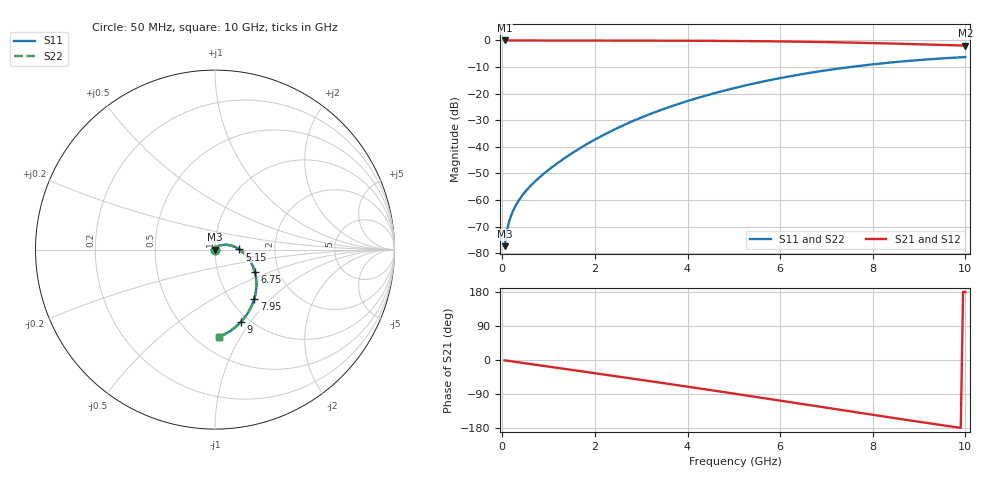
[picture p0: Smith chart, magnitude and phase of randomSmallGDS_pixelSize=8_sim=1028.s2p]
! freq	dB(S11)	phase(S11)	dB(S12)	phase(S12)
!  dB(S21)	phase(S21)	dB(S22)	phase(S22)
!S-par simulation data
#  GHz  S  DB  R 50
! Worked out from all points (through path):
!   200 points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, 50 MHz to 10 GHz, reference 50 ohm
!   highest |S21| = 0.00 dB at 50 MHz (marker M1); lowest = -1.9 dB at 10 GHz (marker M2)
!   group delay of S21, straight-line fit = 50.6 ps
!   lowest |S11| = -77.3 dB at 50 MHz (marker M3), VSWR 1.00, Z = 50 + j0.0132 ohm
!   |S11| at or under -10 dB: start of sweep to 7.508 GHz
!   |S22| runs from -77.3 to -6.2 dB; largest |S21 - S12| = 0
!   S11 on the Smith chart (normalised r, x): 50 MHz: 1.00, +0.00; 5.15 GHz: 1.32, +0.00; 6.75 GHz: 1.51, -0.40; 7.95 GHz: 1.28, -0.80; 9 GHz: 0.91, -0.90; 10 GHz: 0.64, -0.81
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0.05  -77.34 75.6  -0.00 -0.9  -0.00 -0.9  -77.34 75.6
0.1  -71.48 81.7  -0.00 -1.8  -0.00 -1.8  -71.48 81.7
0.15  -67.95 83.4  -0.00 -2.6  -0.00 -2.6  -67.95 83.3
0.2  -65.40 83.9  -0.00 -3.5  -0.00 -3.5  -65.40 83.8
0.3  -61.72 83.8  -0.00 -5.3  -0.00 -5.3  -61.72 83.6
0.45  -57.83 82.5  -0.01 -7.9  -0.01 -7.9  -57.83 82.3
0.65  -53.95 80.2  -0.01 -11.4  -0.01 -11.4  -53.96 79.9
0.95  -49.33 76.1  -0.02 -16.6  -0.02 -16.6  -49.34 75.7
1.35  -44.19 69.9  -0.03 -23.5  -0.03 -23.5  -44.20 69.5
1.75  -39.75 63.0  -0.03 -30.5  -0.03 -30.5  -39.76 62.6
2.55  -32.41 48.5  -0.05 -44.5  -0.05 -44.5  -32.42 48.1
3.4  -26.31 32.7  -0.08 -59.6  -0.08 -59.6  -26.31 32.4
4.25  -21.45 17.1  -0.13 -74.9  -0.13 -74.9  -21.45 16.8
5.05  -17.73 2.3  -0.21 -89.5  -0.21 -89.5  -17.73 2.0
5.15  -17.31 0.4  -0.22 -91.4  -0.22 -91.4  -17.31 0.2
5.9  -14.49 -13.5  -0.34 -105.3  -0.34 -105.3  -14.49 -13.8
6.7  -12.01 -28.5  -0.53 -120.3  -0.53 -120.3  -12.02 -28.7
6.75  -11.88 -29.4  -0.54 -121.3  -0.54 -121.3  -11.88 -29.6
7.95  -9.08 -51.5  -0.96 -143.8  -0.96 -143.8  -9.08 -51.7
8.35  -8.35 -58.8  -1.13 -151.2  -1.13 -151.2  -8.36 -59.0
9  -7.36 -70.3  -1.43 -163.1  -1.43 -163.1  -7.36 -70.5
10  -6.25 -87.5  -1.93 179.1  -1.93 179.1  -6.25 -87.7
